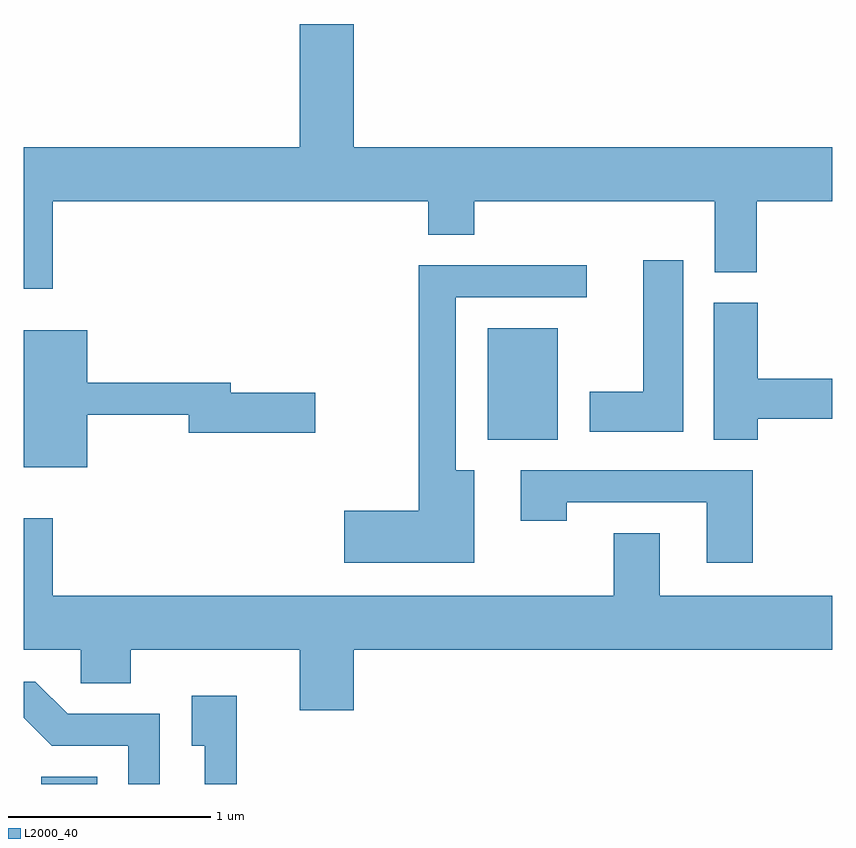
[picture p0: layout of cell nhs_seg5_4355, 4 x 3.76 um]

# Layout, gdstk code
import gdstk
lib = gdstk.Library(unit=1e-6, precision=1e-09)
def R(c, l, rs):  # rectangles x0, y0, x1, y1
    for r in rs: c.add(gdstk.rectangle(r[:2], r[2:], *l))
def P(c, l, *ps):  # polygons
    for p in ps: c.add(gdstk.Polygon(p, *l))
L2000_40 = (2000, 40)

nhs_seg5_4355 = lib.new_cell('nhs_seg5_4355')
R(nhs_seg5_4355, L2000_40, [(313.696,1516.072,313.974,1516.109), (315.906,1517.776,316.254,1518.329)])
P(nhs_seg5_4355, L2000_40, [(313.754,1518.956),(315.611,1518.956),(315.611,1518.791),(315.839,1518.791),(315.839,1518.956),(317.031,1518.956),(317.031,1518.606),(317.239,1518.606),(317.239,1518.956),(317.611,1518.956),(317.611,1519.224),(315.244,1519.224),(315.244,1519.834),(314.976,1519.834),(314.976,1519.224),(313.611,1519.224),(313.611,1518.523),(313.754,1518.523)],
  [(316.874,1518.664),(316.676,1518.664),(316.676,1518.014),(316.411,1518.014),(316.411,1517.816),(316.874,1517.816)],
  [(315.839,1517.624),(315.749,1517.624),(315.749,1518.481),(316.398,1518.481),(316.398,1518.639),(315.566,1518.639),(315.566,1517.424),(315.196,1517.424),(315.196,1517.166),(315.839,1517.166)],
  [(317.244,1517.881),(317.611,1517.881),(317.611,1518.079),(317.244,1518.079),(317.244,1518.454),(317.026,1518.454),(317.026,1517.776),(317.244,1517.776)],
  [(313.924,1517.901),(314.426,1517.901),(314.426,1517.811),(315.054,1517.811),(315.054,1518.009),(314.634,1518.009),(314.634,1518.059),(313.924,1518.059),(313.924,1518.319),(313.611,1518.319),(313.611,1517.641),(313.924,1517.641)],
  [(317.219,1517.624),(316.071,1517.624),(316.071,1517.376),(316.299,1517.376),(316.299,1517.466),(316.991,1517.466),(316.991,1517.166),(317.219,1517.166)],
  [(315.244,1516.736),(317.611,1516.736),(317.611,1517.004),(316.759,1517.004),(316.759,1517.314),(316.531,1517.314),(316.531,1517.004),(313.754,1517.004),(313.754,1517.388),(313.611,1517.388),(313.611,1516.736),(313.891,1516.736),(313.891,1516.571),(314.139,1516.571),(314.139,1516.736),(314.976,1516.736),(314.976,1516.436),(315.244,1516.436)],
  [(314.284,1516.419),(313.827,1516.419),(313.667,1516.579),(313.611,1516.579),(313.611,1516.399),(313.749,1516.261),(314.126,1516.261),(314.126,1516.072),(314.284,1516.072)],
  [(314.664,1516.509),(314.441,1516.509),(314.441,1516.261),(314.506,1516.261),(314.506,1516.072),(314.664,1516.072)])

lib.write_gds('nhs_seg5_4355.gds')
